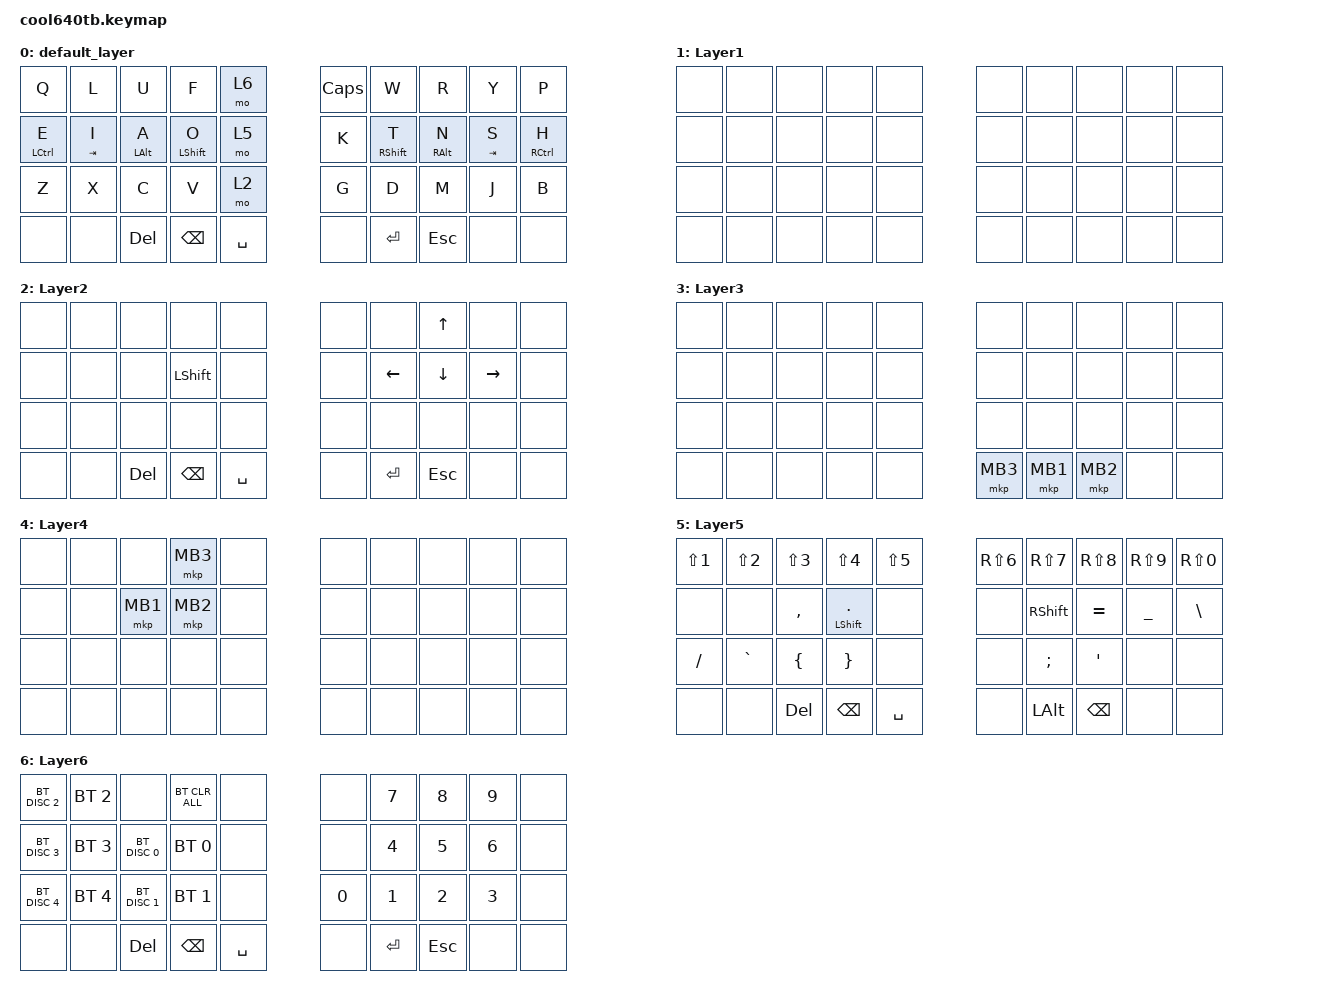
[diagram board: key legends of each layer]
// #define ZMK_POINTING_DEFAULT_MOVE_VAL 800 
// #define ZMK_POINTING_DEFAULT_SCRL_VAL 120

#include <behaviors.dtsi>
#include <dt-bindings/zmk/bt.h>
#include <dt-bindings/zmk/keys.h>
#include <dt-bindings/zmk/pointing.h>

// #include <dt-bindings/zmk/pointing.h>

#define MOUSE 4
#define SCROLL 5
#define NUM 6

&mt {
    flavor = "balanced";
    quick-tap-ms = <0>;
};

/ {
    combos {
        compatible = "zmk,combos";

        tab {
            bindings = <&kp LANGUAGE_1>;
            key-positions = <16 17>;
            layers = <0>;
        };

        BK {
            bindings = <&kp LANGUAGE_2>;
            key-positions = <12 13>;
            layers = <0>;
        };
    };

    macros {
        to_layer_0: to_layer_0 {
            compatible = "zmk,behavior-macro-one-param";
            #binding-cells = <1>;
            bindings = <&to 0 &macro_param_1to1 &kp MACRO_PLACEHOLDER>;
            label = "TO_LAYER_0";
        };
    };

    behaviors {
        lt_to_layer_0: lt_to_layer_0 {
            compatible = "zmk,behavior-hold-tap";
            label = "LAYER_TAP_TO_0";
            bindings = <&mo>, <&to_layer_0>;

            #binding-cells = <2>;
            tapping-term-ms = <200>;
        };
    };


keymap {
        compatible = "zmk,keymap";

        default_layer {
            bindings = <
&kp Q               &kp L      &kp U           &kp F             &mo 6      &kp CAPSLOCK  &kp W              &kp R            &kp Y      &kp P
&mt LEFT_CONTROL E  &mt TAB I  &mt LEFT_ALT A  &mt LEFT_SHIFT O  &mo 5      &kp K         &mt RIGHT_SHIFT T  &mt RIGHT_ALT N  &mt TAB S  &mt RIGHT_CONTROL H
&kp Z               &kp X      &kp C           &kp V             &mo 2      &kp G         &kp D              &kp M            &kp J      &kp B
&none               &none      &kp DELETE      &kp BACKSPACE     &kp SPACE  &none         &kp RET            &kp ESCAPE       &none      &none
            >;
        };

        Layer1 {
            bindings = <
&none  &none  &none  &none  &none  &none  &none  &none  &none  &none
&none  &none  &none  &none  &none  &none  &none  &none  &none  &none
&none  &none  &none  &none  &none  &none  &none  &none  &none  &none
&none  &none  &none  &none  &none  &none  &none  &none  &none  &none
            >;
        };

        Layer2 {
            bindings = <
&none  &none  &none       &none           &none      &none           &none           &kp UP_ARROW    &none      &none
&none  &none  &none       &kp LEFT_SHIFT  &none      &none           &kp LEFT_ARROW  &kp DOWN_ARROW  &kp RIGHT  &none
&none  &none  &none       &none           &none      &none           &none           &none           &none      &none
&none  &none  &kp DELETE  &kp BACKSPACE   &kp SPACE  &none           &kp RET         &kp ESCAPE      &none      &none
            >;
        };

        Layer3 {
            bindings = <
&none  &none  &none     &none     &none     &none  &none  &none  &none  &none
&none  &none  &none     &none     &none     &none  &none  &none  &none  &none
&none  &none  &none     &none     &none     &none  &none  &none  &none  &none
&none  &none  &none     &none     &none     &mkp MB3  &mkp MB1  &mkp MB2  &none  &none
            >;
        };

        Layer4 {
            bindings = <
&none  &none  &none     &mkp MB3  &none     &none  &none  &none  &none  &none
&none  &none  &mkp MB1  &mkp MB2  &none     &none  &none  &none  &none  &none
&none  &none  &none     &none     &none     &none  &none  &none  &none  &none
&none  &none  &none     &none     &none     &none  &none  &none  &none  &none
            >;
        };

        Layer5 {
            bindings = <
&kp LS(NUMBER_1)  &kp LS(NUMBER_2)  &kp LS(NUMBER_3)  &kp LS(NUMBER_4)       &kp LS(N5)  &kp RS(NUMBER_6)  &kp RS(N7)       &kp RS(N8)     &kp RS(N9)  &kp RS(N0)
&none             &none             &kp COMMA         &mt LEFT_SHIFT PERIOD  &none       &none             &kp RIGHT_SHIFT  &kp EQUAL      &kp UNDER   &kp BACKSLASH
&kp SLASH         &kp GRAVE         &kp LEFT_BRACE    &kp RIGHT_BRACE        &none       &none             &kp SEMI         &kp APOS       &none       &none
&none             &none             &kp DELETE        &kp BACKSPACE          &kp SPACE   &none             &kp LEFT_ALT     &kp BACKSPACE  &none       &none
            >;
        };

        Layer6 {
            bindings = <
&bt BT_DISC 2  &bt BT_SEL 2  &none          &bt BT_CLR_ALL  &none      &none      &kp N7        &kp N8        &kp N9        &none
&bt BT_DISC 3  &bt BT_SEL 3  &bt BT_DISC 0  &bt BT_SEL 0    &none      &none      &kp NUMBER_4  &kp NUMBER_5  &kp NUMBER_6  &none
&bt BT_DISC 4  &bt BT_SEL 4  &bt BT_DISC 1  &bt BT_SEL 1    &none      &kp N0     &kp NUMBER_1  &kp NUMBER_2  &kp NUMBER_3  &none
&none          &none         &kp DEL        &kp BACKSPACE   &kp SPACE  &none      &kp RET       &kp ESCAPE    &none         &none
            >;
        };
    };
 };
